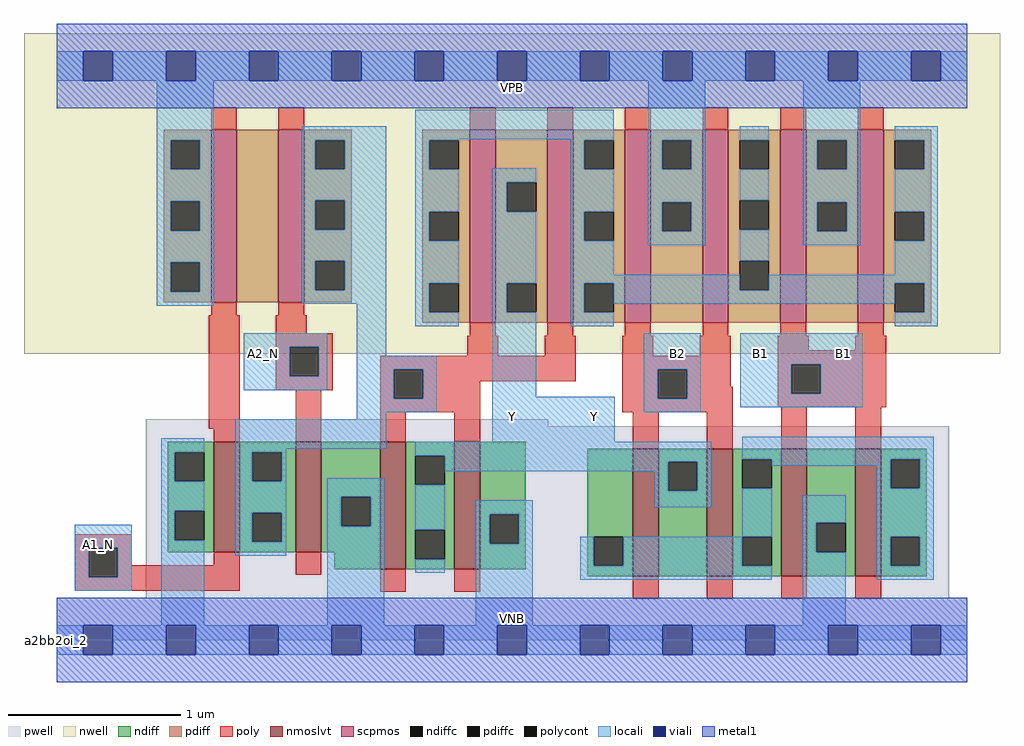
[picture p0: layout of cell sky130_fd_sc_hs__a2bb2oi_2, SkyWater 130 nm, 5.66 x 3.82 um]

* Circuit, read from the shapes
.subckt sky130_fd_sc_hs__a2bb2oi_2 A1_N A2_N B1 B2 VGND VNB VPB VPWR Y
XM1 n1 A1_N VGND VNB sky130_fd_pr__nfet_01v8_lvt w=0.64 l=0.15
XM2 VGND A2_N n1 VNB sky130_fd_pr__nfet_01v8_lvt w=0.64 l=0.15
XM3 Y n1 VGND VNB sky130_fd_pr__nfet_01v8_lvt w=0.74 l=0.15 m=2
XM4 Y B2 n2 VNB sky130_fd_pr__nfet_01v8_lvt w=0.74 l=0.15 m=2
XM5 VGND B1 n2 VNB sky130_fd_pr__nfet_01v8_lvt w=0.74 l=0.15 m=2
XM6 n3 A1_N VPWR VPB sky130_fd_pr__pfet_01v8 w=1 l=0.15
XM7 n1 A2_N n3 VPB sky130_fd_pr__pfet_01v8 w=1 l=0.15
XM8 Y n1 n4 VPB sky130_fd_pr__pfet_01v8 w=1.12 l=0.15 m=2
XM9 VPWR B2 n4 VPB sky130_fd_pr__pfet_01v8 w=1.12 l=0.15 m=2
XM10 VPWR B1 n4 VPB sky130_fd_pr__pfet_01v8 w=1.12 l=0.15 m=2
.ends

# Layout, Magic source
magic
tech sky130A
magscale 1 2
<< nwell >>
rect -38 332 1094 704
<< pwell >>
rect 103 248 570 256
rect 103 49 1035 248
rect 0 0 1056 49
<< scpmos >>
rect 179 392 209 592
rect 257 392 287 592
rect 479 368 509 592
rect 569 368 599 592
rect 659 368 689 592
rect 749 368 779 592
rect 839 368 869 592
rect 929 368 959 592
<< nmoslvt >>
rect 182 102 212 230
rect 277 102 307 230
rect 375 82 405 230
rect 461 82 491 230
rect 668 74 698 222
rect 754 74 784 222
rect 840 74 870 222
rect 926 74 956 222
<< ndiff >>
rect 129 218 182 230
rect 129 184 137 218
rect 171 184 182 218
rect 129 150 182 184
rect 129 116 137 150
rect 171 116 182 150
rect 129 102 182 116
rect 212 218 277 230
rect 212 184 227 218
rect 261 184 277 218
rect 212 148 277 184
rect 212 114 227 148
rect 261 114 277 148
rect 212 102 277 114
rect 307 166 375 230
rect 307 132 330 166
rect 364 132 375 166
rect 307 102 375 132
rect 322 82 375 102
rect 405 214 461 230
rect 405 180 416 214
rect 450 180 461 214
rect 405 128 461 180
rect 405 94 416 128
rect 450 94 461 128
rect 405 82 461 94
rect 491 146 544 230
rect 491 112 502 146
rect 536 112 544 146
rect 491 82 544 112
rect 615 120 668 222
rect 615 86 623 120
rect 657 86 668 120
rect 615 74 668 86
rect 698 207 754 222
rect 698 173 709 207
rect 743 173 754 207
rect 698 74 754 173
rect 784 210 840 222
rect 784 176 795 210
rect 829 176 840 210
rect 784 120 840 176
rect 784 86 795 120
rect 829 86 840 120
rect 784 74 840 86
rect 870 136 926 222
rect 870 102 881 136
rect 915 102 926 136
rect 870 74 926 102
rect 956 210 1009 222
rect 956 176 967 210
rect 1001 176 1009 210
rect 956 120 1009 176
rect 956 86 967 120
rect 1001 86 1009 120
rect 956 74 1009 86
<< pdiff >>
rect 124 580 179 592
rect 124 546 132 580
rect 166 546 179 580
rect 124 509 179 546
rect 124 475 132 509
rect 166 475 179 509
rect 124 438 179 475
rect 124 404 132 438
rect 166 404 179 438
rect 124 392 179 404
rect 209 392 257 592
rect 287 580 342 592
rect 287 546 300 580
rect 334 546 342 580
rect 287 510 342 546
rect 287 476 300 510
rect 334 476 342 510
rect 287 440 342 476
rect 287 406 300 440
rect 334 406 342 440
rect 287 392 342 406
rect 424 580 479 592
rect 424 546 432 580
rect 466 546 479 580
rect 424 497 479 546
rect 424 463 432 497
rect 466 463 479 497
rect 424 414 479 463
rect 424 380 432 414
rect 466 380 479 414
rect 424 368 479 380
rect 509 531 569 592
rect 509 497 522 531
rect 556 497 569 531
rect 509 414 569 497
rect 509 380 522 414
rect 556 380 569 414
rect 509 368 569 380
rect 599 580 659 592
rect 599 546 612 580
rect 646 546 659 580
rect 599 497 659 546
rect 599 463 612 497
rect 646 463 659 497
rect 599 414 659 463
rect 599 380 612 414
rect 646 380 659 414
rect 599 368 659 380
rect 689 580 749 592
rect 689 546 702 580
rect 736 546 749 580
rect 689 508 749 546
rect 689 474 702 508
rect 736 474 749 508
rect 689 368 749 474
rect 779 580 839 592
rect 779 546 792 580
rect 826 546 839 580
rect 779 510 839 546
rect 779 476 792 510
rect 826 476 839 510
rect 779 440 839 476
rect 779 406 792 440
rect 826 406 839 440
rect 779 368 839 406
rect 869 580 929 592
rect 869 546 882 580
rect 916 546 929 580
rect 869 508 929 546
rect 869 474 882 508
rect 916 474 929 508
rect 869 368 929 474
rect 959 580 1014 592
rect 959 546 972 580
rect 1006 546 1014 580
rect 959 497 1014 546
rect 959 463 972 497
rect 1006 463 1014 497
rect 959 414 1014 463
rect 959 380 972 414
rect 1006 380 1014 414
rect 959 368 1014 380
<< ndiffc >>
rect 137 184 171 218
rect 137 116 171 150
rect 227 184 261 218
rect 227 114 261 148
rect 330 132 364 166
rect 416 180 450 214
rect 416 94 450 128
rect 502 112 536 146
rect 623 86 657 120
rect 709 173 743 207
rect 795 176 829 210
rect 795 86 829 120
rect 881 102 915 136
rect 967 176 1001 210
rect 967 86 1001 120
<< pdiffc >>
rect 132 546 166 580
rect 132 475 166 509
rect 132 404 166 438
rect 300 546 334 580
rect 300 476 334 510
rect 300 406 334 440
rect 432 546 466 580
rect 432 463 466 497
rect 432 380 466 414
rect 522 497 556 531
rect 522 380 556 414
rect 612 546 646 580
rect 612 463 646 497
rect 612 380 646 414
rect 702 546 736 580
rect 702 474 736 508
rect 792 546 826 580
rect 792 476 826 510
rect 792 406 826 440
rect 882 546 916 580
rect 882 474 916 508
rect 972 546 1006 580
rect 972 463 1006 497
rect 972 380 1006 414
<< poly >>
rect 179 592 209 618
rect 257 592 287 618
rect 479 592 509 618
rect 569 592 599 618
rect 659 592 689 618
rect 749 592 779 618
rect 839 592 869 618
rect 929 592 959 618
rect 179 377 209 392
rect 257 377 287 392
rect 176 245 212 377
rect 254 356 290 377
rect 254 340 320 356
rect 479 353 509 368
rect 569 353 599 368
rect 659 353 689 368
rect 749 353 779 368
rect 839 353 869 368
rect 929 353 959 368
rect 254 306 270 340
rect 304 306 320 340
rect 476 330 512 353
rect 566 330 602 353
rect 254 290 320 306
rect 375 314 602 330
rect 182 230 212 245
rect 277 230 307 290
rect 375 280 391 314
rect 425 300 602 314
rect 656 330 692 353
rect 746 330 782 353
rect 656 314 782 330
rect 425 280 491 300
rect 375 264 491 280
rect 656 280 697 314
rect 731 294 782 314
rect 836 336 872 353
rect 926 336 962 353
rect 836 320 962 336
rect 731 280 784 294
rect 656 264 784 280
rect 836 286 852 320
rect 886 286 962 320
rect 836 270 962 286
rect 375 230 405 264
rect 461 230 491 264
rect 21 107 87 123
rect 21 73 37 107
rect 71 87 87 107
rect 182 87 212 102
rect 71 73 212 87
rect 277 76 307 102
rect 668 222 698 264
rect 754 222 784 264
rect 840 222 870 270
rect 926 222 956 270
rect 21 57 212 73
rect 375 56 405 82
rect 461 56 491 82
rect 668 48 698 74
rect 754 48 784 74
rect 840 48 870 74
rect 926 48 956 74
<< polycont >>
rect 270 306 304 340
rect 391 280 425 314
rect 697 280 731 314
rect 852 286 886 320
rect 37 73 71 107
<< locali >>
rect 0 649 31 683
rect 65 649 127 683
rect 161 649 223 683
rect 257 649 319 683
rect 353 649 415 683
rect 449 649 511 683
rect 545 649 607 683
rect 641 649 703 683
rect 737 649 799 683
rect 833 649 895 683
rect 929 649 991 683
rect 1025 649 1056 683
rect 116 580 182 649
rect 116 546 132 580
rect 166 546 182 580
rect 116 509 182 546
rect 116 475 132 509
rect 166 475 182 509
rect 116 438 182 475
rect 116 404 132 438
rect 166 404 182 438
rect 116 388 182 404
rect 284 580 382 596
rect 284 546 300 580
rect 334 546 382 580
rect 284 510 382 546
rect 284 476 300 510
rect 334 476 382 510
rect 284 440 382 476
rect 284 406 300 440
rect 334 406 382 440
rect 284 390 382 406
rect 217 340 314 356
rect 217 306 270 340
rect 304 306 314 340
rect 217 290 314 306
rect 348 330 382 390
rect 416 581 646 615
rect 416 580 466 581
rect 416 546 432 580
rect 596 580 646 581
rect 416 497 466 546
rect 416 463 432 497
rect 416 414 466 463
rect 416 380 432 414
rect 416 364 466 380
rect 505 531 556 547
rect 505 497 522 531
rect 505 414 556 497
rect 505 380 522 414
rect 348 314 441 330
rect 348 280 391 314
rect 425 280 441 314
rect 348 264 441 280
rect 505 282 556 380
rect 596 546 612 580
rect 596 497 646 546
rect 596 463 612 497
rect 596 424 646 463
rect 686 580 752 649
rect 686 546 702 580
rect 736 546 752 580
rect 686 508 752 546
rect 686 474 702 508
rect 736 474 752 508
rect 686 458 752 474
rect 792 580 826 596
rect 792 510 826 546
rect 792 440 826 476
rect 866 580 932 649
rect 866 546 882 580
rect 916 546 932 580
rect 866 508 932 546
rect 866 474 882 508
rect 916 474 932 508
rect 866 458 932 474
rect 972 580 1022 596
rect 1006 546 1022 580
rect 972 497 1022 546
rect 1006 463 1022 497
rect 596 414 792 424
rect 596 380 612 414
rect 646 406 792 414
rect 972 424 1022 463
rect 826 414 1022 424
rect 826 406 972 414
rect 646 390 972 406
rect 596 364 646 380
rect 1006 380 1022 414
rect 972 364 1022 380
rect 681 314 747 356
rect 348 256 382 264
rect 121 218 171 234
rect 121 184 137 218
rect 121 150 171 184
rect 21 107 87 134
rect 21 73 37 107
rect 71 73 87 107
rect 21 57 87 73
rect 121 116 137 150
rect 121 17 171 116
rect 207 222 382 256
rect 505 230 647 282
rect 681 280 697 314
rect 731 280 747 314
rect 681 264 747 280
rect 793 320 935 356
rect 793 286 852 320
rect 886 286 935 320
rect 793 270 935 286
rect 207 218 266 222
rect 207 184 227 218
rect 261 184 266 218
rect 416 214 759 230
rect 207 148 266 184
rect 207 114 227 148
rect 261 114 266 148
rect 207 98 266 114
rect 314 166 380 188
rect 314 132 330 166
rect 364 132 380 166
rect 314 17 380 132
rect 450 207 759 214
rect 450 196 709 207
rect 416 128 450 180
rect 693 173 709 196
rect 743 173 759 207
rect 416 78 450 94
rect 486 146 552 162
rect 693 154 759 173
rect 795 210 1017 236
rect 829 202 967 210
rect 486 112 502 146
rect 536 112 552 146
rect 795 120 829 176
rect 951 176 967 202
rect 1001 176 1017 210
rect 486 17 552 112
rect 607 86 623 120
rect 657 86 795 120
rect 607 70 829 86
rect 865 136 915 168
rect 865 102 881 136
rect 865 17 915 102
rect 951 120 1017 176
rect 951 86 967 120
rect 1001 86 1017 120
rect 951 70 1017 86
rect 0 -17 31 17
rect 65 -17 127 17
rect 161 -17 223 17
rect 257 -17 319 17
rect 353 -17 415 17
rect 449 -17 511 17
rect 545 -17 607 17
rect 641 -17 703 17
rect 737 -17 799 17
rect 833 -17 895 17
rect 929 -17 991 17
rect 1025 -17 1056 17
<< viali >>
rect 31 649 65 683
rect 127 649 161 683
rect 223 649 257 683
rect 319 649 353 683
rect 415 649 449 683
rect 511 649 545 683
rect 607 649 641 683
rect 703 649 737 683
rect 799 649 833 683
rect 895 649 929 683
rect 991 649 1025 683
rect 31 -17 65 17
rect 127 -17 161 17
rect 223 -17 257 17
rect 319 -17 353 17
rect 415 -17 449 17
rect 511 -17 545 17
rect 607 -17 641 17
rect 703 -17 737 17
rect 799 -17 833 17
rect 895 -17 929 17
rect 991 -17 1025 17
<< metal1 >>
rect 0 683 1056 715
rect 0 649 31 683
rect 65 649 127 683
rect 161 649 223 683
rect 257 649 319 683
rect 353 649 415 683
rect 449 649 511 683
rect 545 649 607 683
rect 641 649 703 683
rect 737 649 799 683
rect 833 649 895 683
rect 929 649 991 683
rect 1025 649 1056 683
rect 0 617 1056 649
rect 0 17 1056 49
rect 0 -17 31 17
rect 65 -17 127 17
rect 161 -17 223 17
rect 257 -17 319 17
rect 353 -17 415 17
rect 449 -17 511 17
rect 545 -17 607 17
rect 641 -17 703 17
rect 737 -17 799 17
rect 833 -17 895 17
rect 929 -17 991 17
rect 1025 -17 1056 17
rect 0 -49 1056 -17
<< labels >>
rlabel comment s 0 0 0 0 4 a2bb2oi_2
flabel pwell s 0 0 1056 49 0 FreeSans 200 0 0 0 VNB
port 6 nsew ground bidirectional
flabel nwell s 0 617 1056 666 0 FreeSans 200 0 0 0 VPB
port 7 nsew power bidirectional
flabel metal1 s 0 617 1056 666 0 FreeSans 340 0 0 0 VPWR
port 8 nsew power bidirectional
flabel metal1 s 0 0 1056 49 0 FreeSans 340 0 0 0 VGND
port 5 nsew ground bidirectional
flabel locali s 223 316 257 350 0 FreeSans 340 0 0 0 A2_N
port 2 nsew signal input
flabel locali s 511 242 545 276 0 FreeSans 340 0 0 0 Y
port 9 nsew signal output
flabel locali s 607 242 641 276 0 FreeSans 340 0 0 0 Y
port 9 nsew signal output
flabel locali s 703 316 737 350 0 FreeSans 340 0 0 0 B2
port 4 nsew signal input
flabel locali s 799 316 833 350 0 FreeSans 340 0 0 0 B1
port 3 nsew signal input
flabel locali s 895 316 929 350 0 FreeSans 340 0 0 0 B1
port 3 nsew signal input
flabel locali s 31 94 65 128 0 FreeSans 340 0 0 0 A1_N
port 1 nsew signal input
<< properties >>
string LEFsite unit
string LEFclass CORE
string FIXED_BBOX 0 0 1056 666
string GDS_FILE $PDKPATH/libs.ref/sky130_fd_sc_hs/gds/sky130_fd_sc_hs.gds
string LEFsymmetry X Y
string GDS_END 2073660
string GDS_START 2064710
<< end >>
